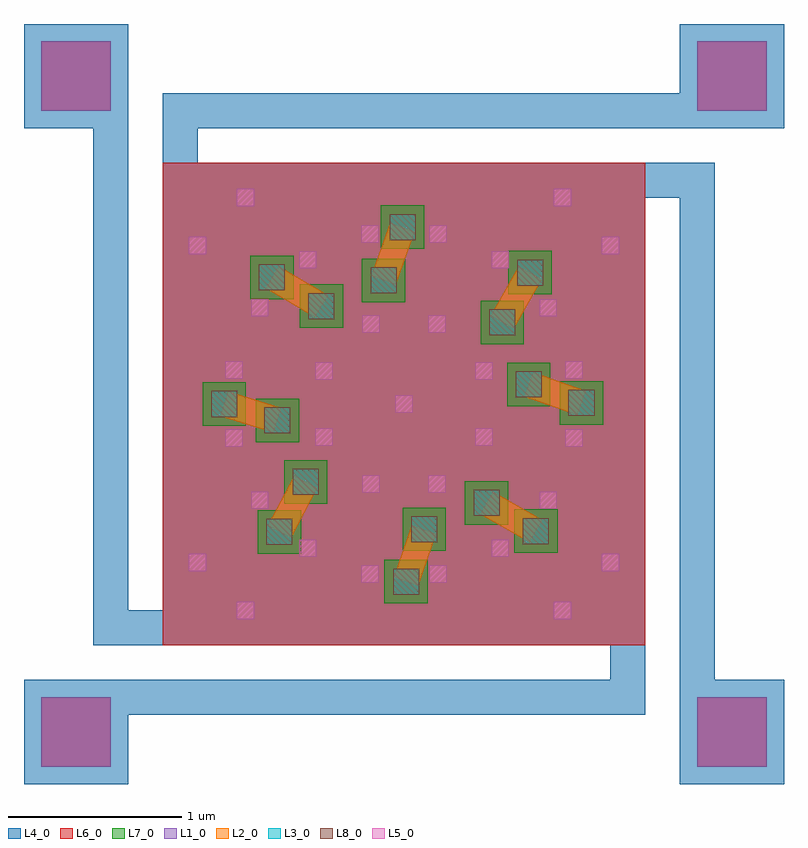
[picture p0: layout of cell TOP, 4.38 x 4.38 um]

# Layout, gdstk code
import gdstk
lib = gdstk.Library(unit=1e-6, precision=1e-09)
def R(c, l, rs):  # rectangles x0, y0, x1, y1
    for r in rs: c.add(gdstk.rectangle(r[:2], r[2:], *l))
def P(c, l, *ps):  # polygons
    for p in ps: c.add(gdstk.Polygon(p, *l))
L1_0 = (1, 0)
L2_0 = (2, 0)
L3_0 = (3, 0)
L4_0 = (4, 0)
L5_0 = (5, 0)
L6_0 = (6, 0)
L7_0 = (7, 0)
L8_0 = (8, 0)

top = lib.new_cell('TOP')
R(top, L1_0, [(-2.09,-2.09,-1.69,-1.69), (1.69,-2.09,2.09,-1.69), (-2.09,1.69,-1.69,2.09), (1.69,1.69,2.09,2.09)])
P(top, L2_0, [(-0.651,-0.772),(-0.784,-0.702),(-0.633,-0.414),(-0.5,-0.484)],
  [(0.082,-1.048),(-0.059,-0.998),(0.046,-0.698),(0.187,-0.748)],
  [(0.722,-0.797),(0.439,-0.635),(0.514,-0.505),(0.797,-0.667)],
  [(0.998,-0.065),(0.694,0.042),(0.744,0.183),(1.048,0.076)],
  [(0.632,0.434),(0.501,0.508),(0.662,0.794),(0.793,0.72)],
  [(-0.047,0.687),(-0.189,0.738),(-0.079,1.045),(0.063,0.994)],
  [(-0.513,0.499),(-0.798,0.666),(-0.723,0.795),(-0.438,0.628)],
  [(-0.753,-0.165),(-1.058,-0.07),(-1.013,0.073),(-0.708,-0.022)])
R(top, L3_0, [(-0.063,-1.099,0.087,-0.949), (-0.793,-0.812,-0.643,-0.662), (0.685,-0.808,0.835,-0.658), (0.042,-0.797,0.192,-0.647), (0.401,-0.645,0.551,-0.495), (-0.641,-0.524,-0.491,-0.374), (-0.805,-0.169,-0.655,-0.019), (-1.111,-0.075,-0.961,0.075), (0.948,-0.069,1.098,0.081), (0.644,0.038,0.794,0.188), (0.491,0.395,0.641,0.545), (-0.551,0.489,-0.401,0.639), (-0.193,0.637,-0.043,0.787), (-0.836,0.655,-0.686,0.805), (0.652,0.682,0.802,0.832), (-0.083,0.944,0.067,1.094)])
P(top, L4_0, [(-2.19,-2.19),(-2.19,-1.59),(1.19,-1.59),(1.19,-1.39),(-1.79,-1.39),(-1.79,1.59),(-2.19,1.59),(-2.19,2.19),(-1.59,2.19),(-1.59,-1.19),(-1.39,-1.19),(-1.39,1.79),(1.59,1.79),(1.59,2.19),(2.19,2.19),(2.19,1.59),(-1.19,1.59),(-1.19,1.39),(1.79,1.39),(1.79,-1.59),(2.19,-1.59),(2.19,-2.19),(1.59,-2.19),(1.59,1.19),(1.39,1.19),(1.39,-1.79),(-1.59,-1.79),(-1.59,-2.19)])
R(top, L5_0, [(-0.963,-1.24,-0.863,-1.14), (0.863,-1.24,0.963,-1.14), (-0.245,-1.03,-0.145,-0.93), (0.145,-1.03,0.245,-0.93), (-1.24,-0.963,-1.14,-0.863), (1.14,-0.963,1.24,-0.863), (-0.605,-0.881,-0.505,-0.781), (0.505,-0.881,0.605,-0.781), (-0.881,-0.605,-0.781,-0.505), (0.781,-0.605,0.881,-0.505), (-0.241,-0.511,-0.141,-0.411), (0.141,-0.511,0.241,-0.411), (-1.03,-0.245,-0.93,-0.145), (0.93,-0.245,1.03,-0.145), (-0.511,-0.241,-0.411,-0.141), (0.411,-0.241,0.511,-0.141), (-0.05,-0.05,0.05,0.05), (-0.511,0.141,-0.411,0.241), (0.411,0.141,0.511,0.241), (-1.03,0.145,-0.93,0.245), (0.93,0.145,1.03,0.245), (-0.241,0.411,-0.141,0.511), (0.141,0.411,0.241,0.511), (-0.881,0.505,-0.781,0.605), (0.781,0.505,0.881,0.605), (-0.605,0.781,-0.505,0.881), (0.505,0.781,0.605,0.881), (-1.24,0.863,-1.14,0.963), (1.14,0.863,1.24,0.963), (-0.245,0.93,-0.145,1.03), (0.145,0.93,0.245,1.03), (-0.963,1.14,-0.863,1.24), (0.863,1.14,0.963,1.24)])
R(top, L6_0, [(-2.09,-2.09,-1.69,-1.69), (1.69,-2.09,2.09,-1.69), (-1.39,-1.39,1.39,1.39), (-2.09,1.69,-1.69,2.09), (1.69,1.69,2.09,2.09)])
R(top, L7_0, [(-0.113,-1.149,0.137,-0.899), (-0.843,-0.862,-0.593,-0.612), (0.635,-0.858,0.885,-0.608), (-0.008,-0.847,0.242,-0.597), (0.351,-0.695,0.601,-0.445), (-0.691,-0.574,-0.441,-0.324), (-0.855,-0.219,-0.605,0.031), (-1.161,-0.125,-0.911,0.125), (0.898,-0.119,1.148,0.131), (0.594,-0.012,0.844,0.238), (0.441,0.345,0.691,0.595), (-0.601,0.439,-0.351,0.689), (-0.243,0.587,0.007,0.837), (-0.886,0.605,-0.636,0.855), (0.602,0.632,0.852,0.882), (-0.133,0.894,0.117,1.144)])
R(top, L8_0, [(-0.063,-1.099,0.087,-0.949), (-0.793,-0.812,-0.643,-0.662), (0.685,-0.808,0.835,-0.658), (0.042,-0.797,0.192,-0.647), (0.401,-0.645,0.551,-0.495), (-0.641,-0.524,-0.491,-0.374), (-0.805,-0.169,-0.655,-0.019), (-1.111,-0.075,-0.961,0.075), (0.948,-0.069,1.098,0.081), (0.644,0.038,0.794,0.188), (0.491,0.395,0.641,0.545), (-0.551,0.489,-0.401,0.639), (-0.193,0.637,-0.043,0.787), (-0.836,0.655,-0.686,0.805), (0.652,0.682,0.802,0.832), (-0.083,0.944,0.067,1.094)])

lib.write_gds('TOP.gds')
